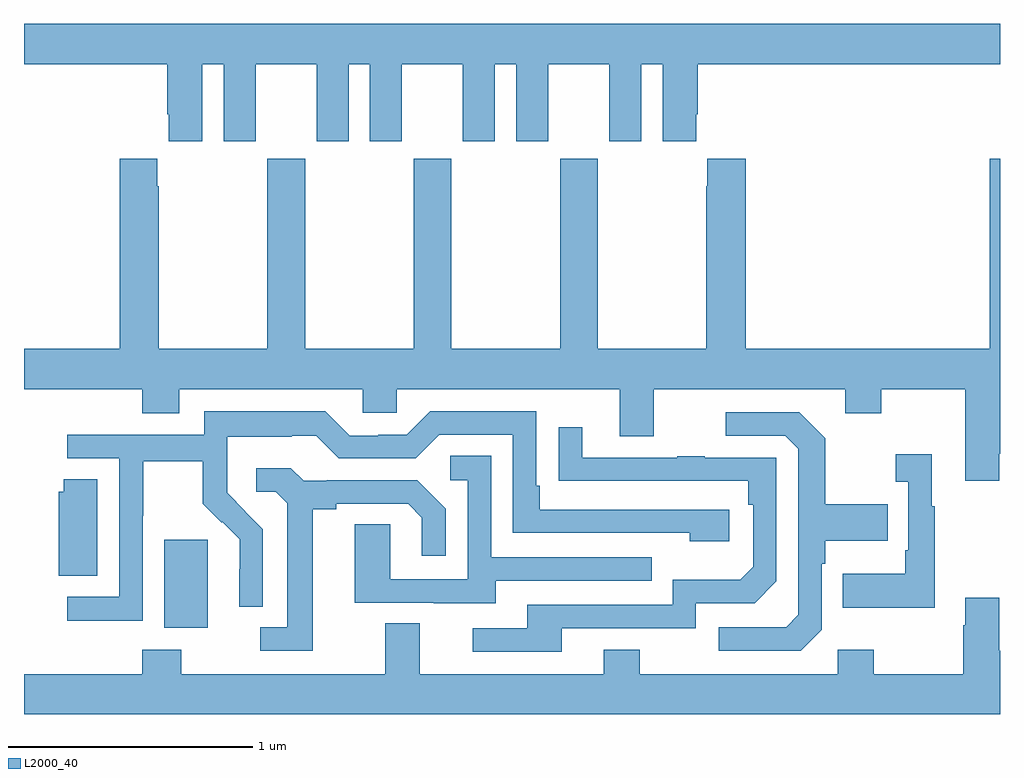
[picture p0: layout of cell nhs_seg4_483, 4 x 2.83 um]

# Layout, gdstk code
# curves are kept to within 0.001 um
import gdstk
lib = gdstk.Library(unit=1e-6, precision=1e-09)
def R(c, l, rs):  # rectangles x0, y0, x1, y1
    for r in rs: c.add(gdstk.rectangle(r[:2], r[2:], *l))
def P(c, l, *ps):  # polygons
    for p in ps: c.add(gdstk.Polygon(p, *l))
L2000_40 = (2000, 40)

nhs_seg4_483 = lib.new_cell('nhs_seg4_483')
R(nhs_seg4_483, L2000_40, [(135.575,771.866,135.754,772.227)])
P(nhs_seg4_483, L2000_40, [(135.73,774.176),(135.818,774.176),(135.818,773.859),(135.949,773.859),(135.949,774.176),(136.199,774.176),(136.199,773.859),(136.33,773.859),(136.33,774.176),(136.418,774.176),(136.418,773.859),(136.549,773.859),(136.549,774.176),(136.799,774.176),(136.799,773.859),(136.93,773.859),(136.93,774.176),(137.018,774.176),(137.018,773.859),(137.149,773.859),(137.149,774.176),(137.399,774.176),(137.399,773.859),(137.53,773.859),(137.53,774.176),(137.618,774.176),(137.618,773.859),(137.755,773.859),(137.755,773.971),(137.762,773.971),(137.762,774.176),(139,774.176),(139,774.34),(135,774.34),(135,774.176),(135.587,774.176),(135.587,773.971),(135.593,773.971),(135.593,773.859),(135.73,773.859)],
  [(138.959,773.008),(137.957,773.008),(137.957,773.788),(137.801,773.788),(137.801,773.675),(137.797,773.675),(137.797,773.008),(137.352,773.008),(137.352,773.788),(137.197,773.788),(137.197,773.008),(136.752,773.008),(136.752,773.788),(136.597,773.788),(136.597,773.008),(136.152,773.008),(136.152,773.788),(135.997,773.788),(135.997,773.008),(135.552,773.008),(135.552,773.675),(135.547,773.675),(135.547,773.788),(135.392,773.788),(135.392,773.008),(135,773.008),(135,772.844),(135.485,772.844),(135.485,772.745),(135.637,772.745),(135.637,772.844),(136.389,772.844),(136.389,772.746),(136.527,772.746),(136.527,772.844),(137.441,772.844),(137.441,772.65),(137.581,772.65),(137.581,772.844),(138.365,772.844),(138.365,772.745),(138.513,772.745),(138.513,772.844),(138.857,772.844),(138.857,772.467),(138.997,772.467),(138.997,772.579),(139,772.579),(139,773.788),(138.959,773.788)],
  [(135.486,772.324),(135.489,772.324),(135.489,772.548),(135.733,772.548),(135.733,772.373),(135.81,772.296),(135.813,772.299),(135.884,772.229),(135.884,772.106),(135.882,772.106),(135.882,771.952),(135.978,771.952),(135.978,772.27),(135.832,772.418),(135.832,772.515),(135.834,772.515),(135.834,772.649),(136.097,772.649),(136.097,772.653),(136.197,772.653),(136.29,772.56),(136.605,772.56),(136.701,772.656),(137.004,772.656),(137.004,772.254),(137.729,772.254),(137.729,772.22),(137.89,772.22),(137.89,772.35),(137.113,772.35),(137.113,772.447),(137.1,772.447),(137.1,772.752),(136.665,772.752),(136.569,772.656),(136.451,772.656),(136.451,772.653),(136.335,772.653),(136.235,772.753),(135.738,772.753),(135.738,772.656),(135.177,772.656),(135.177,772.56),(135.39,772.56),(135.39,771.993),(135.177,771.993),(135.177,771.895),(135.486,771.895)],
  [(138.27,771.858),(138.27,772.127),(138.283,772.127),(138.283,772.223),(138.539,772.223),(138.539,772.371),(138.283,772.371),(138.283,772.643),(138.177,772.749),(137.877,772.749),(137.877,772.653),(138.12,772.653),(138.174,772.599),(138.174,771.918),(138.123,771.867),(137.847,771.867),(137.847,771.771),(138.183,771.771)],
  [(137.203,771.864),(137.754,771.864),(137.754,771.966),(137.994,771.966),(138.084,772.056),(138.084,772.563),(137.789,772.563),(137.789,772.568),(137.677,772.568),(137.677,772.563),(137.287,772.563),(137.287,772.687),(137.191,772.687),(137.191,772.468),(137.968,772.467),(137.968,772.37),(137.988,772.37),(137.988,772.116),(137.935,772.063),(137.658,772.063),(137.658,771.96),(137.063,771.96),(137.063,771.864),(136.839,771.864),(136.839,771.768),(137.203,771.768)],
  [(138.733,772.363),(138.721,772.363),(138.721,772.576),(138.573,772.576),(138.573,772.463),(138.624,772.463),(138.624,772.183),(138.612,772.183),(138.612,772.087),(138.355,772.087),(138.355,771.947),(138.733,771.947)],
  [(136.933,772.059),(137.573,772.059),(137.573,772.155),(136.914,772.155),(136.914,772.571),(136.746,772.571),(136.746,772.47),(136.818,772.47),(136.818,772.065),(136.5,772.065),(136.5,772.289),(136.355,772.289),(136.355,771.969),(136.679,771.969),(136.679,771.965),(136.933,771.965)],
  [(136.183,772.352),(136.279,772.352),(136.279,772.374),(136.574,772.374),(136.631,772.317),(136.631,772.161),(136.728,772.161),(136.728,772.354),(136.612,772.47),(136.24,772.47),(136.24,772.467),(136.146,772.467),(136.094,772.519),(135.951,772.519),(135.951,772.422),(136.032,772.422),(136.079,772.375),(136.079,771.867),(135.969,771.867),(135.969,771.771),(136.183,771.771)],
  [(135.301,772.475),(135.163,772.475),(135.163,772.422),(135.143,772.422),(135.143,772.078),(135.301,772.078)],
  [(139,771.772),(138.997,771.772),(138.997,771.988),(138.857,771.988),(138.857,771.875),(138.85,771.875),(138.85,771.676),(138.483,771.676),(138.483,771.775),(138.336,771.775),(138.336,771.676),(137.523,771.676),(137.523,771.775),(137.375,771.775),(137.375,771.676),(136.621,771.676),(136.621,771.884),(136.481,771.884),(136.481,771.676),(135.645,771.676),(135.645,771.775),(135.485,771.775),(135.485,771.676),(135,771.676),(135,771.512),(139,771.512)])

lib.write_gds('nhs_seg4_483.gds')
